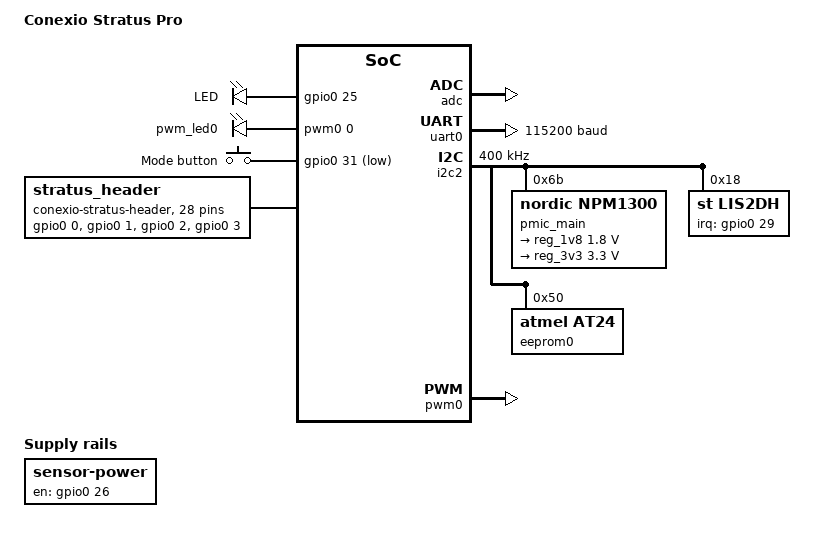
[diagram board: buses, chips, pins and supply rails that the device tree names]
/*
 * Copyright (c) 2024 Conexio Technologies, Inc
 *
 * SPDX-License-Identifier: Apache-2.0
 */
#include "conexio_stratus_pro_common-pinctrl.dtsi"
#include <zephyr/dt-bindings/input/input-event-codes.h>

/ {
	model = "Conexio Stratus Pro";
	compatible = "conexio,stratus_pro";

	chosen {
		zephyr,console = &uart0;
		zephyr,shell-uart = &uart0;
		zephyr,uart-mcumgr = &uart0;
	};

	leds {
		compatible = "gpio-leds";
		led0: led_0 {
			gpios = <&gpio0 25 GPIO_ACTIVE_HIGH>;
			label = "LED";
		};
	};

	pwmleds {
		compatible = "pwm-leds";
		pwm_led0: pwm_led_0 {
			pwms = <&pwm0 0 PWM_MSEC(20) PWM_POLARITY_NORMAL>;
		};
	};

	buttons {
		compatible = "gpio-keys";
		button0: button_0 {
			gpios = <&gpio0 31 (GPIO_PULL_UP | GPIO_ACTIVE_LOW)>;
			label = "Mode button";
			zephyr,code = <INPUT_KEY_0>;
		};
	};

	stratus_header: connector {
		compatible = "conexio-stratus-header";
		#gpio-cells = <2>;
		gpio-map-mask = <0xffffffff 0xffffffc0>;
		gpio-map-pass-thru = <0 0x3f>;
		gpio-map = <0 0 &gpio0 0 0>,	/* D0 */
			   <1 0 &gpio0 1 0>,	/* D1 */
			   <2 0 &gpio0 2 0>,	/* D2 */
			   <3 0 &gpio0 3 0>,	/* D3 */
			   <4 0 &gpio0 4 0>,	/* D4 */
			   <5 0 &gpio0 5 0>,	/* D5 */
			   <6 0 &gpio0 6 0>,	/* D6 */
			   <7 0 &gpio0 7 0>,	/* D7/SCL */
			   <8 0 &gpio0 8 0>,	/* D8/SDA */
			   <9 0 &gpio0 9 0>,	/* D9 */
			   <10 0 &gpio0 10 0>,	/* D10 */
			   <11 0 &gpio0 11 0>,	/* D11 */
			   <12 0 &gpio0 12 0>,	/* D12 */
			   <13 0 &gpio0 13 0>,	/* D13/A0 */
			   <14 0 &gpio0 14 0>,	/* D14/A1 */
			   <15 0 &gpio0 15 0>,	/* D15/A2 */
			   <16 0 &gpio0 16 0>,	/* D16/A3 */
			   <17 0 &gpio0 17 0>,	/* D17/A4 */
			   <18 0 &gpio0 18 0>,	/* D18 */
			   <19 0 &gpio0 19 0>,	/* D19/SCK */
			   <20 0 &gpio0 20 0>,	/* D20/MISO */
			   <21 0 &gpio0 21 0>,	/* D21/MOSI */
			   <22 0 &gpio0 22 0>,	/* D22/CS */
			   <23 0 &gpio0 23 0>,	/* D23 */
			   <24 0 &gpio0 24 0>,	/* D24 */
			   /* 25 internally connected */
			   <26 0 &gpio0 26 0>,	/* D26 */
			   <27 0 &gpio0 27 0>,	/* D27/RX */
			   <28 0 &gpio0 28 0>;	/* D28/TX */
	};

	/* These aliases are provided for compatibility with samples */
	aliases {
		led0 = &led0;
		pwm-led0 = &pwm_led0;
		sw0 = &button0;
		bootloader-led0 = &led0;
		mcuboot-button0 = &button0;
		mcuboot-led0 = &led0;
		watchdog0 = &wdt0;
	};

	sensor-pwr-ctrl {
		compatible = "regulator-fixed";
		regulator-name = "sensor-power";
		enable-gpios = <&gpio0 26 GPIO_ACTIVE_HIGH>;
		regulator-boot-on;
	};
};

&adc {
	status = "okay";
};

&gpiote {
	status = "okay";
};

&gpio0 {
	status = "okay";
};

&uart0 {
	status = "okay";
	current-speed = <115200>;
	pinctrl-0 = <&uart0_default>;
	pinctrl-1 = <&uart0_sleep>;
	pinctrl-names = "default", "sleep";
};

&i2c2 {
	compatible = "nordic,nrf-twim";
	status = "okay";
	pinctrl-0 = <&i2c2_default>;
	pinctrl-1 = <&i2c2_sleep>;
	pinctrl-names = "default", "sleep";
	clock-frequency = <I2C_BITRATE_FAST>;

	pmic_main: npm1300@6b {
		compatible = "nordic,npm1300";
		reg = <0x6b>;
		pmic_charger: charger {
			compatible = "nordic,npm1300-charger";
			term-microvolt = <4150000>;
			term-warm-microvolt = <4000000>;
			current-microamp = <800000>;
			dischg-limit-microamp = <1000000>;
			vbus-limit-microamp = <1000000>;
			thermistor-ohms = <10000>;
			thermistor-beta = <3380>;
			charging-enable;
		};
		regulators {
			compatible = "nordic,npm1300-regulator";
			/* Main 1.8 V regulator, for VDD_GPIO */
			reg_1v8: BUCK1 {
				regulator-min-microvolt = <1800000>;
				regulator-max-microvolt = <1800000>;
				regulator-boot-on;
			};
			/* 3.3 V regulator, for QWIIC and GPS LNA */
			reg_3v3: BUCK2 {
				regulator-min-microvolt = <3300000>;
				regulator-max-microvolt = <3300000>;
				regulator-boot-on;
			};
		};
	};

	lis2dh: lis2dh@18 {
		compatible = "st,lis2dh";
		reg = <0x18>;
		irq-gpios = <&gpio0 29 GPIO_ACTIVE_HIGH>;
		disconnect-sdo-sa0-pull-up;
	};

	eeprom0: eeprom@50 {
		/* 24CW160 (16 kbit eeprom) */
		/* 0x8000 config register not accessible! If required, set size to 64K */
		compatible = "atmel,at24";
		reg = <0x50>;
		size = <DT_SIZE_K(2)>;
		pagesize = <32>;
		address-width = <16>;
		timeout = <5>;
	};
};

&pwm0 {
	status = "okay";
	pinctrl-0 = <&pwm0_default>;
	pinctrl-1 = <&pwm0_sleep>;
	pinctrl-names = "default", "sleep";
};

edge_connector_spi: &spi3 {
	compatible = "nordic,nrf-spim";
	status = "disabled";
	cs-gpios = <&gpio0 17 GPIO_ACTIVE_LOW>; // Used for WiFi CS
	pinctrl-0 = <&spi3_default>;
	pinctrl-1 = <&spi3_sleep>;
	pinctrl-names = "default", "sleep";
};

&flash0 {
	partitions {
		compatible = "fixed-partitions";
		#address-cells = <1>;
		#size-cells = <1>;

		boot_partition: partition@0 {
			label = "mcuboot";
			reg = <0x00000000 0x10000>;
		};
		slot0_partition: partition@10000 {
			label = "image-0";
		};
		slot0_ns_partition: partition@50000 {
			label = "image-0-nonsecure";
		};
		slot1_partition: partition@80000 {
			label = "image-1";
		};
		slot1_ns_partition: partition@c0000 {
			label = "image-1-nonsecure";
		};
		scratch_partition: partition@f0000 {
			label = "image-scratch";
			reg = <0x000f0000 0xa000>;
		};
		storage_partition: partition@fa000 {
			label = "storage";
			reg = <0x000fa000 0x00006000>;
		};
	};
};

/ {

	reserved-memory {
		#address-cells = <1>;
		#size-cells = <1>;
		ranges;

		sram0_s: image_s@20000000 {
			/* Secure image memory */
		};

		sram0_modem: image_modem@20016000 {
			/* Modem (shared) memory */
		};

		sram0_ns: image_ns@20020000 {
			/* Non-Secure image memory */
		};
	};
};

/* Include partition configuration file */
#include "conexio_stratus_pro_partition_conf.dtsi"
